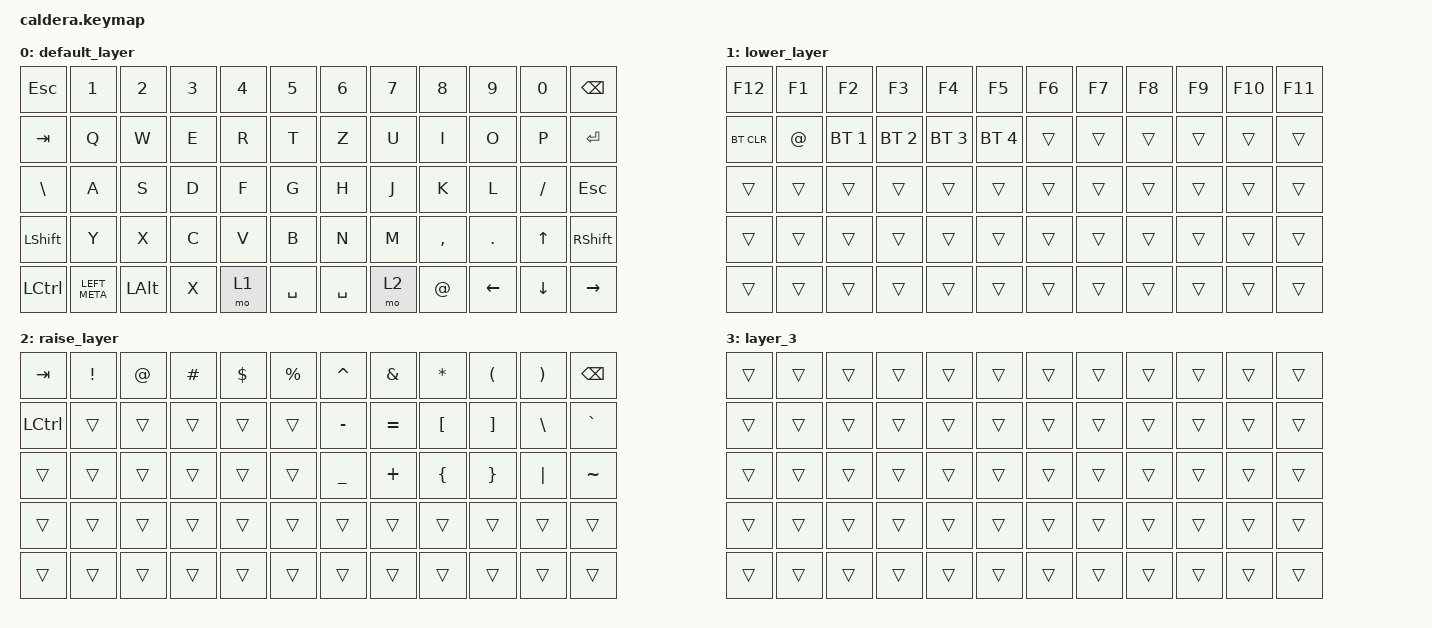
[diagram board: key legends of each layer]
#include <behaviors.dtsi>
#include <dt-bindings/zmk/bt.h>
#include <dt-bindings/zmk/keys.h>

/ {
    keymap {
        compatible = "zmk,keymap";

        default_layer {
            // -----------------------------------------------------------------------------------------
            // |  TAB |  Q  |  W  |  E  |  R  |  T  |   |  Y  |  U   |  I  |  O  |  P  | BSPC |
            // | CTRL |  A  |  S  |  D  |  F  |  G  |   |  H  |  J   |  K  |  L  |  ;  |  '   |
            // | SHFT |  Z  |  X  |  C  |  V  |  B  |   |  N  |  M   |  ,  |  .  |  /  | ESC  |
            //                    | GUI | LWR | SPC |   | ENT | RSE  | ALT |

            bindings = <
&kp ESCAPE     &kp NUMBER_1   &kp NUMBER_2  &kp NUMBER_3  &kp NUMBER_4  &kp N5       &kp NUMBER_6  &kp N7  &kp N8     &kp N9          &kp N0          &kp BSPC
&kp TAB        &kp Q          &kp W         &kp E         &kp R         &kp T        &kp Z         &kp U   &kp I      &kp O           &kp P           &kp ENTER
&kp BACKSLASH  &kp A          &kp S         &kp D         &kp F         &kp G        &kp H         &kp J   &kp K      &kp L           &kp FSLH        &kp ESC
&kp LSHFT      &kp Y          &kp X         &kp C         &kp V         &kp B        &kp N         &kp M   &kp COMMA  &kp DOT         &kp UP_ARROW    &kp RIGHT_SHIFT
&kp LCTRL      &kp LEFT_META  &kp LEFT_ALT  &kp X         &mo 1         &kp SPACE    &kp SPACE     &mo 2   &kp AT     &kp LEFT_ARROW  &kp DOWN_ARROW  &kp RIGHT_ARROW
            >;
        };

        lower_layer {
            // -----------------------------------------------------------------------------------------
            // |  TAB |  1  |  2  |  3  |  4  |  5  |   |  6  |  7  |  8  |  9  |  0  | BSPC |
            // | BTCLR| BT1 | BT2 | BT3 | BT4 | BT5 |   | LFT | DWN |  UP | RGT |     |      |
            // | SHFT |     |     |     |     |     |   |     |     |     |     |     |      |
            //                    | GUI |     | SPC |   | ENT |     | ALT |

            bindings = <
&kp F12     &kp F1  &kp F2        &kp F3        &kp F4        &kp F5          &kp F6  &kp F7  &kp F8  &kp F9  &kp F10  &kp F11
&bt BT_CLR  &kp AT  &bt BT_SEL 1  &bt BT_SEL 2  &bt BT_SEL 3  &bt BT_SEL 4    &trans  &trans  &trans  &trans  &trans   &trans
&trans      &trans  &trans        &trans        &trans        &trans          &trans  &trans  &trans  &trans  &trans   &trans
&trans      &trans  &trans        &trans        &trans        &trans          &trans  &trans  &trans  &trans  &trans   &trans
&trans      &trans  &trans        &trans        &trans        &trans          &trans  &trans  &trans  &trans  &trans   &trans
            >;
        };

        raise_layer {
            // -----------------------------------------------------------------------------------------
            // |  TAB |  !  |  @  |  #  |  $  |  %  |   |  ^  |  &  |  *  |  (  |  )  | BSPC |
            // | CTRL |     |     |     |     |     |   |  -  |  =  |  [  |  ]  |  \  |  `   |
            // | SHFT |     |     |     |     |     |   |  _  |  +  |  {  |  }  | "|" |  ~   |
            //                    | GUI |     | SPC |   | ENT |     | ALT |

            bindings = <
&kp TAB    &kp EXCL  &kp AT  &kp HASH  &kp DLLR  &kp PRCNT    &kp CARET  &kp AMPS   &kp ASTRK  &kp LPAR  &kp RPAR  &kp BSPC
&kp LCTRL  &trans    &trans  &trans    &trans    &trans       &kp MINUS  &kp EQUAL  &kp LBKT   &kp RBKT  &kp BSLH  &kp GRAVE
&trans     &trans    &trans  &trans    &trans    &trans       &kp UNDER  &kp PLUS   &kp LBRC   &kp RBRC  &kp PIPE  &kp TILDE
&trans     &trans    &trans  &trans    &trans    &trans       &trans     &trans     &trans     &trans    &trans    &trans
&trans     &trans    &trans  &trans    &trans    &trans       &trans     &trans     &trans     &trans    &trans    &trans
            >;
        };

        layer_3 {
            bindings = <
&trans  &trans  &trans  &trans  &trans  &trans    &trans  &trans  &trans  &trans  &trans  &trans
&trans  &trans  &trans  &trans  &trans  &trans    &trans  &trans  &trans  &trans  &trans  &trans
&trans  &trans  &trans  &trans  &trans  &trans    &trans  &trans  &trans  &trans  &trans  &trans
&trans  &trans  &trans  &trans  &trans  &trans    &trans  &trans  &trans  &trans  &trans  &trans
&trans  &trans  &trans  &trans  &trans  &trans    &trans  &trans  &trans  &trans  &trans  &trans
            >;
        };
    };
};
